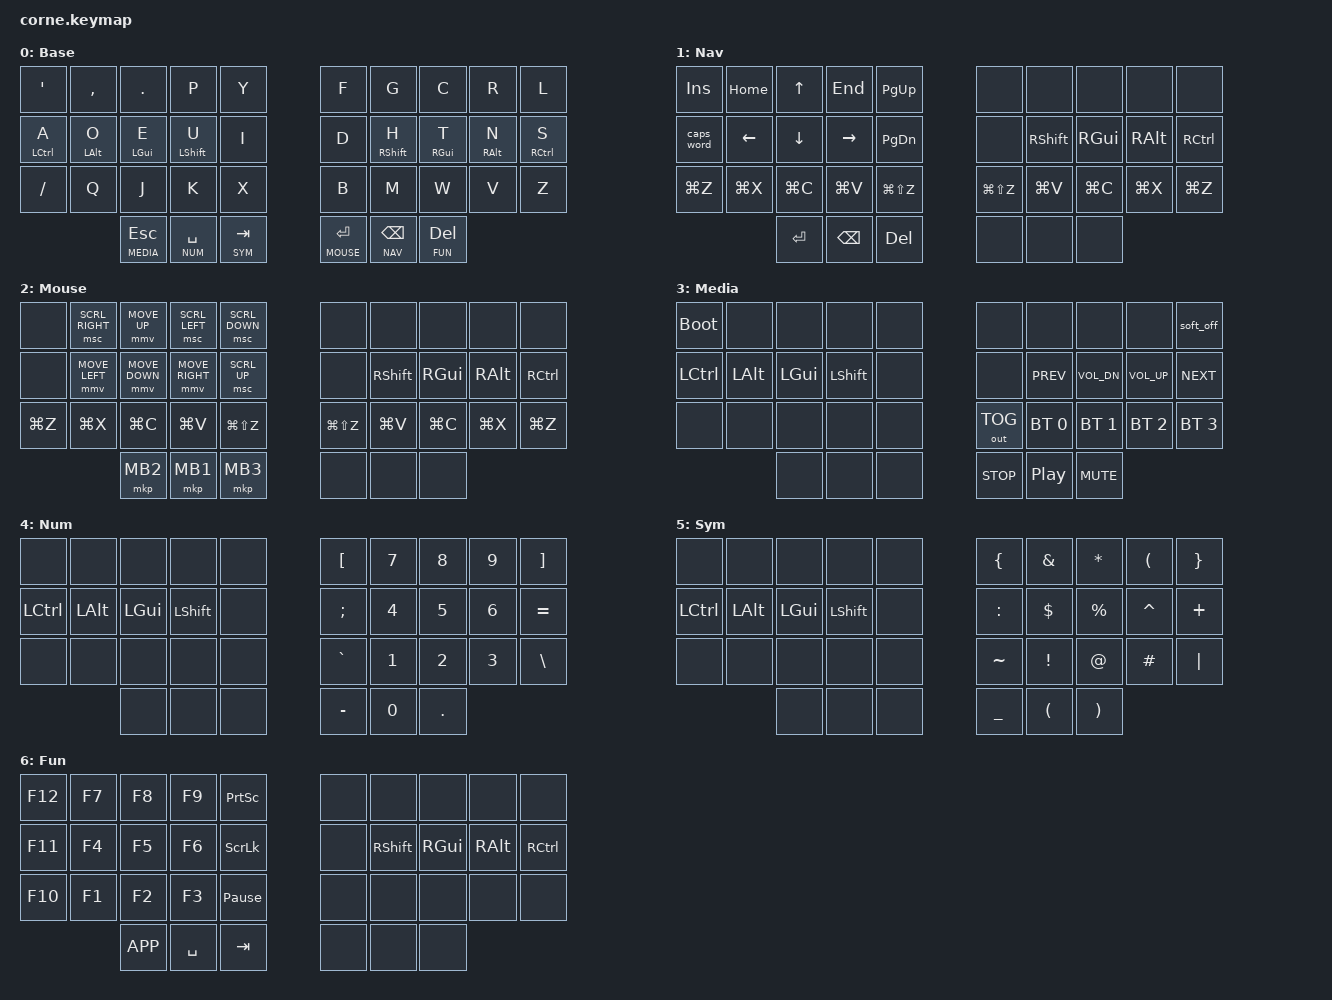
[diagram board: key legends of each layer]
/*
 * Copyright (c) 2020 The ZMK Contributors
 *
 * SPDX-License-Identifier: MIT
 */

#include <behaviors.dtsi>
#include <dt-bindings/zmk/bt.h>
#include <dt-bindings/zmk/keys.h>
#include <dt-bindings/zmk/mouse.h>
#include <dt-bindings/zmk/outputs.h>

// Layer indices
#define BASE  0
#define NAV   1
#define MOUSE 2
#define MEDIA 3
#define NUM   4
#define SYM   5
#define FUN   6

// macOS clipboard shortcuts (change LG to LC for Linux/Windows)
#define U_UNDO LG(Z)
#define U_REDO LG(LS(Z))
#define U_CUT  LG(X)
#define U_COPY LG(C)
#define U_PSTE LG(V)

/ {
    chosen {
        zmk,physical-layout = &foostan_corne_5col_layout;
    };

    behaviors {
        // Positional homerow mods: only trigger as mod when paired with a
        // key on the OPPOSITE hand. Stops same-hand rolls (e.g. typing
        // "as", "th") from misfiring as Ctrl/Alt/GUI/Shift.
        hml: homerow_mods_left {
            compatible = "zmk,behavior-hold-tap";
            #binding-cells = <2>;
            flavor = "balanced";
            tapping-term-ms = <280>;
            quick-tap-ms = <175>;
            require-prior-idle-ms = <150>;
            hold-trigger-on-release;
            hold-trigger-key-positions = <
                5  6  7  8  9
                15 16 17 18 19
                25 26 27 28 29
                33 34 35
            >;
            bindings = <&kp>, <&kp>;
        };
        hmr: homerow_mods_right {
            compatible = "zmk,behavior-hold-tap";
            #binding-cells = <2>;
            flavor = "balanced";
            tapping-term-ms = <280>;
            quick-tap-ms = <175>;
            require-prior-idle-ms = <150>;
            hold-trigger-on-release;
            hold-trigger-key-positions = <
                0  1  2  3  4
                10 11 12 13 14
                20 21 22 23 24
                30 31 32
            >;
            bindings = <&kp>, <&kp>;
        };
    };

    combos {
        compatible = "zmk,combos";
        combo_caps {
            timeout-ms = <50>;
            key-positions = <13 16>;
            bindings = <&kp CAPS>;
            layers = <BASE>;
        };
    };

    keymap {
        compatible = "zmk,keymap";

        base_layer {
            display-name = "Base";
            bindings = <
&kp SQT       &kp COMMA     &kp DOT       &kp P         &kp Y          &kp F        &kp G         &kp C         &kp R        &kp L
&hml LCTRL A  &hml LALT O   &hml LGUI E   &hml LSHFT U  &kp I          &kp D        &hmr RSHFT H  &hmr RGUI T   &hmr RALT N  &hmr RCTRL S
&kp FSLH      &kp Q         &kp J         &kp K         &kp X          &kp B        &kp M         &kp W         &kp V        &kp Z
                            &lt MEDIA ESC &lt NUM SPACE &lt SYM TAB    &lt MOUSE RET &lt NAV BSPC  &lt FUN DEL
            >;
        };

        nav_layer {
            display-name = "Nav";
            bindings = <
&kp INS    &kp HOME   &kp UP      &kp END     &kp PG_UP    &none        &none       &none       &none       &none
&caps_word &kp LEFT   &kp DOWN    &kp RIGHT   &kp PG_DN    &none        &kp RSHFT   &kp RGUI    &kp RALT    &kp RCTRL
&kp U_UNDO &kp U_CUT  &kp U_COPY  &kp U_PSTE  &kp U_REDO   &kp U_REDO   &kp U_PSTE  &kp U_COPY  &kp U_CUT   &kp U_UNDO
                      &kp RET     &kp BSPC    &kp DEL      &none        &none       &none
            >;
        };

        mouse_layer {
            display-name = "Mouse";
            bindings = <
&none           &msc SCRL_RIGHT &mmv MOVE_UP    &msc SCRL_LEFT  &msc SCRL_DOWN  &none        &none           &none           &none      &none
&none           &mmv MOVE_LEFT  &mmv MOVE_DOWN  &mmv MOVE_RIGHT &msc SCRL_UP    &none        &kp RSHFT       &kp RGUI        &kp RALT   &kp RCTRL
&kp U_UNDO      &kp U_CUT       &kp U_COPY      &kp U_PSTE      &kp U_REDO      &kp U_REDO   &kp U_PSTE      &kp U_COPY      &kp U_CUT  &kp U_UNDO
                                &mkp MB2        &mkp MB1        &mkp MB3        &none        &none           &none
            >;
        };

        media_layer {
            display-name = "Media";
            bindings = <
&bootloader &none      &none       &none       &none        &none          &none          &none          &none          &soft_off
&kp LCTRL   &kp LALT   &kp LGUI    &kp LSHFT   &none        &none          &kp C_PREV     &kp C_VOL_DN   &kp C_VOL_UP   &kp C_NEXT
&none       &none      &none       &none       &none        &out OUT_TOG   &bt BT_SEL 0   &bt BT_SEL 1   &bt BT_SEL 2   &bt BT_SEL 3
                       &none       &none       &none        &kp C_STOP     &kp C_PP       &kp C_MUTE
            >;
        };

        num_layer {
            display-name = "Num";
            bindings = <
&none      &none      &none       &none       &none        &kp LBKT    &kp N7      &kp N8      &kp N9     &kp RBKT
&kp LCTRL  &kp LALT   &kp LGUI    &kp LSHFT   &none        &kp SEMI    &kp N4      &kp N5      &kp N6     &kp EQUAL
&none      &none      &none       &none       &none        &kp GRAVE   &kp N1      &kp N2      &kp N3     &kp BSLH
                      &none       &none       &none        &kp MINUS   &kp N0      &kp DOT
            >;
        };

        sym_layer {
            display-name = "Sym";
            bindings = <
&none      &none      &none       &none       &none        &kp LBRC    &kp AMPS    &kp ASTRK   &kp LPAR   &kp RBRC
&kp LCTRL  &kp LALT   &kp LGUI    &kp LSHFT   &none        &kp COLON   &kp DLLR    &kp PRCNT   &kp CARET  &kp PLUS
&none      &none      &none       &none       &none        &kp TILDE   &kp EXCL    &kp AT      &kp HASH   &kp PIPE
                      &none       &none       &none        &kp UNDER   &kp LPAR    &kp RPAR
            >;
        };

        fun_layer {
            display-name = "Fun";
            bindings = <
&kp F12    &kp F7     &kp F8      &kp F9      &kp PSCRN        &none       &none       &none       &none      &none
&kp F11    &kp F4     &kp F5      &kp F6      &kp SLCK         &none       &kp RSHFT   &kp RGUI    &kp RALT   &kp RCTRL
&kp F10    &kp F1     &kp F2      &kp F3      &kp PAUSE_BREAK  &none       &none       &none       &none      &none
                      &kp K_APP   &kp SPACE   &kp TAB          &none       &none       &none
            >;
        };

        extra_1 { status = "reserved"; };

        extra_2 { status = "reserved"; };

        extra_3 { status = "reserved"; };
    };
};
